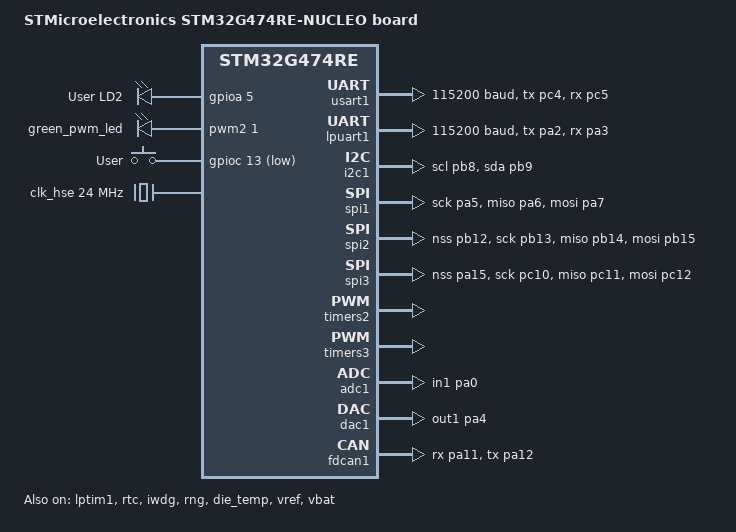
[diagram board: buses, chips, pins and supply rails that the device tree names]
/*
 * Copyright (c) 2019 STMicroelectronics.
 *
 * SPDX-License-Identifier: Apache-2.0
 */

/dts-v1/;
#include <st/g4/stm32g474Xe.dtsi>
#include <st/g4/stm32g474r(b-c-e)tx-pinctrl.dtsi>
#include "arduino_r3_connector.dtsi"
#include "st_morpho_connector.dtsi"
#include <zephyr/dt-bindings/input/input-event-codes.h>

/ {
	model = "STMicroelectronics STM32G474RE-NUCLEO board";
	compatible = "st,stm32g474re-nucleo";

	chosen {
		zephyr,console = &lpuart1;
		zephyr,shell-uart = &lpuart1;
		zephyr,sram = &sram0;
		zephyr,flash = &flash0;
		zephyr,canbus = &fdcan1;
		zephyr,code-partition = &slot0_partition;
	};

	leds: leds {
		compatible = "gpio-leds";
		green_led: led_0 {
			gpios = <&gpioa 5 GPIO_ACTIVE_HIGH>;
			label = "User LD2";
		};
	};

	pwmleds {
		compatible = "pwm-leds";

		green_pwm_led: green_pwm_led {
			pwms = <&pwm2 1 PWM_MSEC(20) PWM_POLARITY_NORMAL>;
		};
	};

	gpio_keys {
		compatible = "gpio-keys";
		user_button: button {
			label = "User";
			gpios = <&gpioc 13 GPIO_ACTIVE_LOW>;
			zephyr,code = <INPUT_KEY_0>;
		};
	};

	aliases {
		led0 = &green_led;
		mcuboot-led0 = &green_led;
		pwm-led0 = &green_pwm_led;
		sw0 = &user_button;
		watchdog0 = &iwdg;
		die-temp0 = &die_temp;
		volt-sensor0 = &vref;
		volt-sensor1 = &vbat;
	};
};

&clk_lsi {
	status = "okay";
};

&clk_hsi48 {
	status = "okay";
};

&clk_hse {
	clock-frequency = <DT_FREQ_M(24)>;
	status = "okay";
};

&pll {
	div-m = <6>;
	mul-n = <85>;
	div-p = <7>;
	div-q = <2>;
	div-r = <2>;
	clocks = <&clk_hse>;
	status = "okay";
};

&rcc {
	clocks = <&pll>;
	clock-frequency = <DT_FREQ_M(170)>;
	ahb-prescaler = <1>;
	apb1-prescaler = <1>;
	apb2-prescaler = <1>;
};

&usart1 {
	pinctrl-0 = <&usart1_tx_pc4 &usart1_rx_pc5>;
	pinctrl-names = "default";
	current-speed = <115200>;
	status = "okay";
};

&lpuart1 {
	pinctrl-0 = <&lpuart1_tx_pa2 &lpuart1_rx_pa3>;
	pinctrl-1 = <&analog_pa2 &analog_pa3>;
	pinctrl-names = "default", "sleep";
	current-speed = <115200>;
	status = "okay";
};

&i2c1 {
	pinctrl-0 = <&i2c1_scl_pb8 &i2c1_sda_pb9>;
	pinctrl-names = "default";
	status = "okay";
};

&spi1 {
	pinctrl-0 = <&spi1_sck_pa5 &spi1_miso_pa6 &spi1_mosi_pa7>;
	pinctrl-names = "default";
	cs-gpios = <&gpiob 6 (GPIO_ACTIVE_LOW | GPIO_PULL_UP)>;
	status = "okay";
};

&spi2 {
	pinctrl-0 = <&spi2_nss_pb12 &spi2_sck_pb13
		     &spi2_miso_pb14 &spi2_mosi_pb15>;
	pinctrl-names = "default";
	status = "okay";
};

&spi3 {
	/* SPI3 on the ST Morpho Connector CN7 pins 17, 1, 2, 3*/
	pinctrl-0 = <&spi3_nss_pa15 &spi3_sck_pc10
		     &spi3_miso_pc11 &spi3_mosi_pc12>;
	pinctrl-names = "default";
	status = "okay";
};

&timers2 {
	status = "okay";

	pwm2: pwm {
		status = "okay";
		pinctrl-0 = <&tim2_ch1_pa5>;
		pinctrl-names = "default";
	};
};

&timers3 {
	st,prescaler = <10000>;
	status = "okay";
	pwm3: pwm {
		status = "okay";
		pinctrl-0 = <&tim3_ch1_pb4>;
		pinctrl-names = "default";
	};
};

stm32_lp_tick_source: &lptim1 {
	clocks = <&rcc STM32_CLOCK_BUS_APB1 0x80000000>,
		<&rcc STM32_SRC_LSI LPTIM1_SEL(1)>;
	status = "okay";
};

&rtc {
	clocks = <&rcc STM32_CLOCK_BUS_APB1 0x00000400>,
		 <&rcc STM32_SRC_LSI RTC_SEL(2)>;
	status = "okay";
};

&flash0 {
	partitions {
		compatible = "fixed-partitions";
		#address-cells = <1>;
		#size-cells = <1>;

		boot_partition: partition@0 {
			label = "mcuboot";
			reg = <0x00000000 DT_SIZE_K(34)>;
		};
		slot0_partition: partition@8800 {
			label = "image-0";
			reg = <0x00008800 DT_SIZE_K(240)>;
		};
		slot1_partition: partition@44800 {
			label = "image-1";
			reg = <0x00044800 DT_SIZE_K(234)>;
		};
		/* Set 4Kb of storage at the end of the 512Kb of flash */
		storage_partition: partition@7f000 {
			label = "storage";
			reg = <0x0007f000 DT_SIZE_K(4)>;
		};
	};
};

&iwdg {
	status = "okay";
};

&rng {
	status = "okay";
};

&adc1 {
	pinctrl-0 = <&adc1_in1_pa0>;
	pinctrl-names = "default";
	st,adc-clock-source = "SYNC";
	st,adc-prescaler = <4>;
	status = "okay";
};

&die_temp {
	status = "okay";
};

&dac1 {
	pinctrl-0 = <&dac1_out1_pa4>;
	pinctrl-names = "default";
	status = "okay";
};

&fdcan1 {
	clocks = <&rcc STM32_CLOCK_BUS_APB1 0x02000000>,
		 <&rcc STM32_SRC_HSE FDCAN_SEL(0)>;
	pinctrl-0 = <&fdcan1_rx_pa11 &fdcan1_tx_pa12>;
	pinctrl-names = "default";
	status = "okay";
};

&vref {
	status = "okay";
};

&vbat {
	status = "okay";
};
